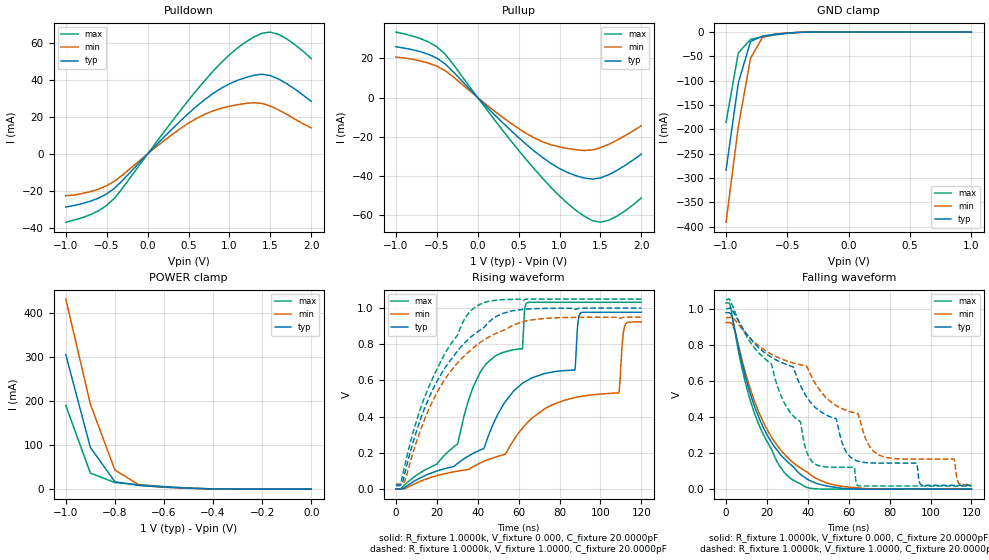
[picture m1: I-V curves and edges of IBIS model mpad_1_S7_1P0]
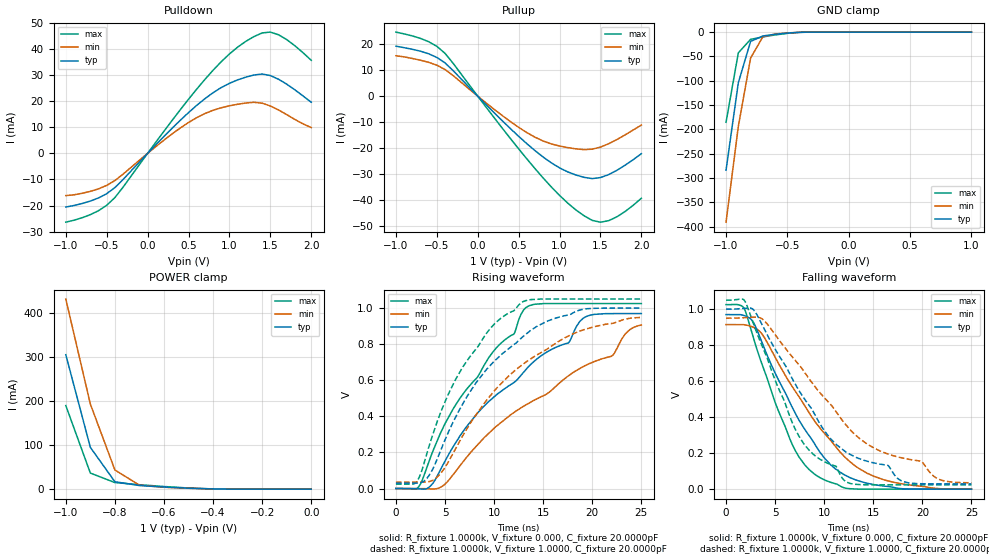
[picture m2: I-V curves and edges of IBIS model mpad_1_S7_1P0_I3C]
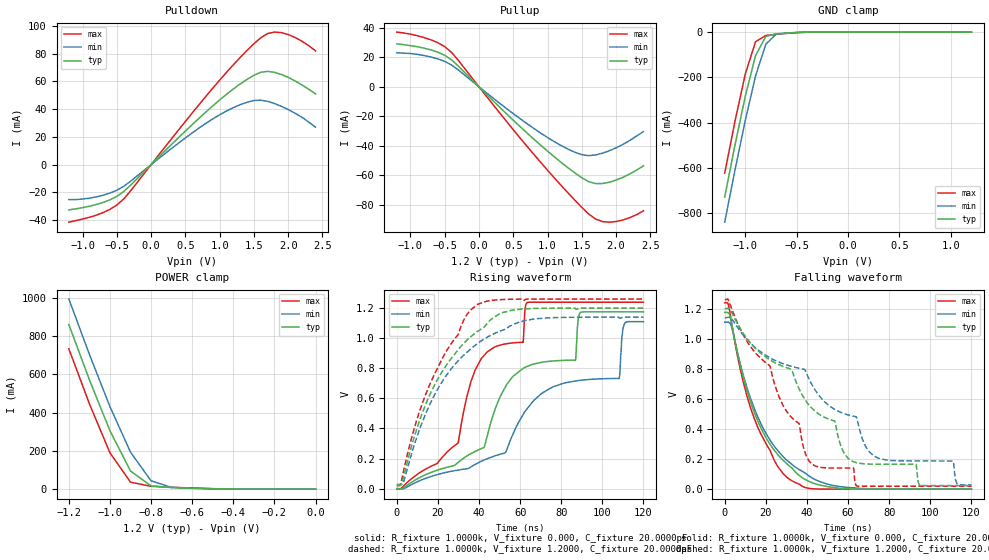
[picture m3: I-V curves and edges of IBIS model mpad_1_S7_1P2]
[IBIS ver]   4.0
[File Rev] 1
[File Name] the.ibs
[Date] Wed Nov 17 18:32:16 IST 2021
| IBIS file created by s2ibis2 version 1.1
| North Carolina State University Electronics Research Laboratory 1995
[Notes]   Nuvoton Technology Corporation (NTC) hereby grants
   the user of this IBIS model a non-exclusive, nontransferable
   license to use this IBIS model under the following terms.
   Before using this IBIS model, the user should read this
   license. If the user does not accept these terms, the IBIS
   model should be returned to NTC within 30 days. The user is
   granted this license only to use the IBIS model and is not
   granted rights to sell, load, rent, lease or license the IBIS
   model in whole or in part, or in modified form to anyone other
   than user. User may modify the IBIS model to suit its specific
   applications but rights to derivative works and such
   modifications shall belong to NTC.
[Disclaimer] This IBIS model is provided on an "AS IS" basis and NTC makes
                 absolutely no warranty with respect to the information
                 contained herein. NUVOTON DISCLAIMS AND CUSTOMER WAIVES ALL
                 WARRANTIES, EXPRESS OR IMPLIED, INCLUDING WARRANTIES OF
                 MERCHANTABILITY OR FITNESS FOR A PARTICULAR PURPOSE. The
                 entire risk as to quality and performance is with the
                 Customer. ACCORDINGLY, IN NO EVENT SHALL THE COMPANY BE LIABLE
                 FOR ANY DAMAGES, WHETHER IN CONTRACT OR TORT, INCLUDING ANY
                 LOST PROFITS OR OTHER INCIDENTAL, CONSEQUENTIAL, EXEMPLARY, OR
                 PUNITIVE DAMAGES ARISING OUT OF THE USE OR APPLICATION OF THE
                 IBIS model provided in this package. Further, NTC reserves
                 the right to make changes without notice to any product herein
                 to improve reliability, function, or design. NTC does not
                 convey any license under patent rights or any other
                 intellectual property rights, including those of third
                 parties. NTC is not obligated to provide maintenance or
                 support for the licensed IBIS model.
[Copyright]   (C) Copyright Nuvoton Technology Corporation 2021
   All rights reserved
|   Component Arbel
[Component] Arbel
[Manufacturer] Nuvoton
[Package] | 21 x 21 mm 521-ball BGA package
| variable   typ   min   max
R_pkg   0.000   0.000   0.000
L_pkg   0.000H   0.000H   0.000H
C_pkg   0.000F   0.000F   0.000F
[Pin]  signal_name   model_name   R_pin   L_pin   C_pin
AA8	GPIO240_I3C0SCL	mpad_1
Y9	GPIO241_I3C0SDA	mpad_1
AE3	GPIO242_I3C1SCL	mpad_1
AD5	GPIO243_I3C1SDA	mpad_1
AD4	GPIO244_I3C2SCL	mpad_1
AC5	GPIO245_I3C2SDA	mpad_1
AA6	GPIO246_I3C3SCL	mpad_1
AB6	GPIO247_I3C3SDA	mpad_1
AA7	GPIO106_I3C5SCL	mpad_1
Y8	GPIO107_I3C5SDA	mpad_1
[Model Selector] mpad_1
mpad_1_S7_1P0 *
mpad_1_S7_1P0_I3C *
mpad_1_S7_1P2 *
mpad_1_S7_1P2_I3C *
mpad_1_S7_1P8 *
mpad_1_S7_1P8_I3C *
| Models and submodels in the file (6): mpad_1_S7_1P0 (I/O), mpad_1_S7_1P0_I3C (I/O), mpad_1_S7_1P2 (I/O), mpad_1_S7_1P2_I3C (I/O), mpad_1_S7_1P8 (I/O), mpad_1_S7_1P8_I3C (I/O)
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[Model]   mpad_1_S7_1P0
Model_type   I/O
Polarity   Non-Inverting
Enable   Active-Low
Vinl = 0.3300V
Vinh = 0.6800V
C_comp   3.7000pF   3.6000pF   3.8000pF
[Temperature Range]   50.0000   100.0   0.000
[Voltage Range]   1.0000V   0.9500V   1.0500V
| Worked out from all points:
|   slope of the pulldown table from 0 to 0.15 V, typ, clamps not added: 21.9 ohm
|   slope of the pullup table from 0 to 0.15 V, typ, clamps not added: 23.4 ohm
|   GND clamp passes 1 mA (typ) near -0.43 V on its own axis
|   POWER clamp passes 1 mA (typ) near -0.43 V on its own axis
|   rising waveform, R_fixture 1.0000k, V_fixture 0.000, C_fixture 20.0000pF: 20-80 % time 50.6ns typ, 58.9ns min, 36.5ns max; typ from 0 V to 0.977 V
|   rising waveform, R_fixture 1.0000k, V_fixture 1.0000, C_fixture 20.0000pF: 20-80 % time 25.9ns typ, 27.6ns min, 23.3ns max; typ from 0.021 V to 1 V
|   falling waveform, R_fixture 1.0000k, V_fixture 0.000, C_fixture 20.0000pF: 20-80 % time 20.2ns typ, 21.9ns min, 17.7ns max; typ from 0.977 V to 0 V
|   falling waveform, R_fixture 1.0000k, V_fixture 1.0000, C_fixture 20.0000pF: 20-80 % time 44.1ns typ, 52.6ns min, 28.7ns max; typ from 1 V to 0.021 V
[Pulldown]
|   *******  Pulldown data is GROUND relative! *******
| voltage   I(typ)   I(min)   I(max)
-1V       -28.7mA    -22.6mA    -36.9mA
-800mV    -26.85mA   -21.39mA   -34.47mA
-600mV    -23.89mA   -19.02mA   -30.71mA
-400mV    -18.37mA   -14.59mA   -23.71mA
200mV     9.093mA    7.106mA    11.88mA
600mV     25.81mA    19.25mA    34.5mA
900mV     35.52mA    24.7mA     49.35mA
1.2V      41.31mA    27.3mA     60.54mA
1.4V      43.09mA    27.28mA    65.27mA
1.5V      42.35mA    25.88mA    65.87mA
1.7V      37.99mA    21.43mA    62.23mA
2V        28.4mA     14.1mA     51.59mA
[Pullup]
|   *******  Pullup data is VCC relative! *******
| voltage   I(typ)   I(min)   I(max)
-1V       26mA       20.7mA     33.5mA
-600mV    22.1mA     17.63mA    28.43mA
-400mV    17.28mA    13.81mA    22.27mA
200mV     -8.524mA   -6.745mA   -11.09mA
600mV     -24.18mA   -18.49mA   -32.05mA
800mV     -30.91mA   -22.73mA   -41.63mA
1V        -36.33mA   -25.27mA   -50.32mA
1.3V      -41.14mA   -27.07mA   -60.61mA
1.5V      -41.09mA   -25.63mA   -63.74mA
1.6V      -39.48mA   -23.93mA   -62.77mA
1.8V      -34.72mA   -19.5mA    -57.96mA
2V        -28.9mA    -14.4mA    -51.31mA
[GND_clamp]
| voltage   I(typ)   I(min)   I(max)
-1V       -283.8mA   -390.8mA   -185.4mA
-900mV    -104.2mA   -194mA     -42.71mA
-800mV    -19.12mA   -53.44mA   -14.95mA
-700mV    -7.96mA    -9.653mA   -9.919mA
-600mV    -4.561mA   -3.952mA   -5.864mA
-400mV    -470.1uA   -461.6uA   -568.6uA
1V        4.044nA    61.24nA    641.7pA
[POWER_clamp]
| voltage   I(typ)   I(min)   I(max)
-1V       304.6mA    430.7mA    189.4mA
-900mV    94.79mA    192.9mA    36.48mA
-800mV    16.82mA    43.46mA    14.94mA
-700mV    8.217mA    9.002mA    10.09mA
-600mV    4.819mA    4.316mA    5.998mA
-500mV    2.165mA    2.001mA    2.639mA
-400mV    511.4uA    556.1uA    552uA
-300mV    38.84uA    62.81uA    27.04uA
-200mV    1.654uA    4.06uA     684.2nA
-100mV    67.78nA    244.2nA    17.11nA
0V        4.044nA    16.41nA    1.024nA
[Ramp]
| variable   typ   min   max
dV/dt_r   0.5864/58.7327n   0.5540/72.1589n   0.6192/52.3667n
dV/dt_f   0.5873/49.5555n   0.5547/58.8851n   0.6197/32.9924n
R_load = 1.0000k
[Rising Waveform]
R_fixture = 1.0000k
V_fixture = 0.000
C_fixture = 20.0000pF
| time   V(typ)   V(min)   V(max)
0s        24.85nV    169.7nV    4.338nV
30.15ns   140.3mV    97.59mV    248.6mV
41.44ns   215.4mV    144mV      650.3mV
61.74ns   582.8mV    334.6mV    772.5mV
63.9ns    597.5mV    361.5mV    1.028V
87.45ns   656.6mV    504.7mV    1.032V
90.09ns   970.3mV    510.1mV    1.032V
108.8ns   977.4mV    529mV      1.032V
111.8ns   977.4mV    899.1mV    1.032V
120ns     977.4mV    923.3mV    1.032V
[Rising Waveform]
R_fixture = 1.0000k
V_fixture = 1.0000
V_fixture_min = 0.9500
V_fixture_max = 1.0500
C_fixture = 20.0000pF
| time   V(typ)   V(min)   V(max)
0s        21.23mV    25.44mV    17.24mV
2.162ns   21.15mV    25.44mV    24.32mV
4.204ns   78.19mV    39.89mV    123.3mV
11.53ns   368.9mV    310mV      428.6mV
19.7ns    586.7mV    524.4mV    652.1mV
34.11ns   813.3mV    742.7mV    949.8mV
38.8ns    859.4mV    789.7mV    1.007V
56.82ns   984.7mV    902.6mV    1.048V
73.63ns   998.7mV    943.8mV    1.05V
120ns     1V         950mV      1.05V
[Falling Waveform]
R_fixture = 1.0000k
V_fixture = 0.000
C_fixture = 20.0000pF
| time   V(typ)   V(min)   V(max)
0s        977.4mV    923.3mV    1.032V
1.682ns   976.9mV    923.3mV    1.029V
3.604ns   921.4mV    900.7mV    920.4mV
8.649ns   658.1mV    678.8mV    627.9mV
14.65ns   436mV      465.3mV    397.1mV
22.1ns    261.3mV    290.3mV    225.2mV
31.11ns   140.7mV    163.8mV    63.38mV
41.2ns    46.05mV    80.16mV    5.225mV
56.1ns    5.803mV    16.9mV     14.24uV
120ns     48.21nV    481.6nV    18.97nV
[Falling Waveform]
R_fixture = 1.0000k
V_fixture = 1.0000
V_fixture_min = 0.9500
V_fixture_max = 1.0500
C_fixture = 20.0000pF
| time   V(typ)   V(min)   V(max)
0s        1V         950mV      1.05V
22.1ns    731.1mV    748.1mV    695.2mV
32.79ns   677.4mV    699.4mV    407.3mV
43.36ns   455.3mV    590.1mV    139.7mV
53.81ns   389.5mV    462.8mV    121.1mV
63.18ns   159.8mV    421.6mV    75.07mV
74.71ns   144.3mV    188.7mV    17.24mV
111.4ns   21.23mV    166.2mV    17.24mV
113.6ns   21.23mV    35.51mV    17.24mV
120ns     21.23mV    25.44mV    17.24mV
[Model]   mpad_1_S7_1P0_I3C
Model_type   I/O
Polarity   Non-Inverting
Enable   Active-Low
Vinl = 0.3300V
Vinh = 0.6800V
C_comp   3.7000pF   3.6000pF   3.8000pF
[Temperature Range]   50.0000   100.0   0.000
[Voltage Range]   1.0000V   0.9500V   1.0500V
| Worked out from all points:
|   slope of the pulldown table from 0 to 0.15 V, typ, clamps not added: 30.7 ohm
|   slope of the pullup table from 0 to 0.15 V, typ, clamps not added: 31.4 ohm
|   GND clamp passes 1 mA (typ) near -0.43 V on its own axis
|   POWER clamp passes 1 mA (typ) near -0.43 V on its own axis
|   rising waveform, R_fixture 1.0000k, V_fixture 0.000, C_fixture 20.0000pF: 20-80 % time 10.6ns typ, 14ns min, 7.25ns max; typ from 0 V to 0.97 V
|   rising waveform, R_fixture 1.0000k, V_fixture 1.0000, C_fixture 20.0000pF: 20-80 % time 7.58ns typ, 9.15ns min, 5.68ns max; typ from 0.029 V to 1 V
|   falling waveform, R_fixture 1.0000k, V_fixture 0.000, C_fixture 20.0000pF: 20-80 % time 5.77ns typ, 7ns min, 4.25ns max; typ from 0.97 V to 0 V
|   falling waveform, R_fixture 1.0000k, V_fixture 1.0000, C_fixture 20.0000pF: 20-80 % time 7.1ns typ, 9.19ns min, 4.95ns max; typ from 1 V to 0.029 V
[Pulldown]
|   *******  Pulldown data is GROUND relative! *******
| voltage   I(typ)   I(min)   I(max)
-1V       -20.6mA    -16.2mA    -26.4mA
-800mV    -19.23mA   -15.31mA   -24.69mA
-600mV    -17.1mA    -13.61mA   -21.99mA
-400mV    -13.14mA   -10.43mA   -16.96mA
200mV     6.496mA    5.072mA    8.49mA
600mV     18.4mA     13.69mA    24.62mA
900mV     25.23mA    17.49mA    35.14mA
1.2V      29.23mA    19.3mA     42.95mA
1.4V      30.43mA    19.24mA    46.18mA
1.5V      29.84mA    18.18mA    46.51mA
1.7V      26.55mA    14.87mA    43.64mA
2V        19.6mA     9.9mA      35.69mA
[Pullup]
|   *******  Pullup data is VCC relative! *******
| voltage   I(typ)   I(min)   I(max)
-1V       19.2mA     15.5mA     24.6mA
-600mV    16.27mA    12.99mA    20.91mA
-400mV    12.77mA    10.23mA    16.44mA
200mV     -6.354mA   -5.046mA   -8.244mA
600mV     -18.24mA   -13.99mA   -24.08mA
800mV     -23.4mA    -17.23mA   -31.43mA
1V        -27.53mA   -19.15mA   -38.1mA
1.3V      -31.18mA   -20.54mA   -45.94mA
1.5V      -31.27mA   -19.56mA   -48.4mA
1.6V      -30.13mA   -18.28mA   -47.82mA
1.8V      -26.55mA   -14.9mA    -44.32mA
2V        -22.1mA    -11.1mA    -39.21mA
[GND_clamp]
| voltage   I(typ)   I(min)   I(max)
-1V       -283.8mA   -390.8mA   -185.4mA
-900mV    -104.2mA   -194mA     -42.71mA
-800mV    -19.12mA   -53.44mA   -14.95mA
-700mV    -7.96mA    -9.653mA   -9.919mA
-600mV    -4.561mA   -3.952mA   -5.864mA
-400mV    -470.1uA   -461.6uA   -568.6uA
1V        4.044nA    61.24nA    641.7pA
[POWER_clamp]
| voltage   I(typ)   I(min)   I(max)
-1V       304.6mA    430.7mA    189.4mA
-900mV    94.79mA    192.9mA    36.48mA
-800mV    16.82mA    43.46mA    14.94mA
-700mV    8.217mA    9.002mA    10.09mA
-600mV    4.819mA    4.316mA    5.998mA
-500mV    2.165mA    2.001mA    2.639mA
-400mV    511.4uA    556.1uA    552uA
-300mV    38.84uA    62.81uA    27.04uA
-200mV    1.654uA    4.06uA     684.2nA
-100mV    67.78nA    244.2nA    17.11nA
0V        4.044nA    16.41nA    1.024nA
[Ramp]
| variable   typ   min   max
dV/dt_r   0.5819/8.4274n   0.5486/10.8111n   0.6150/1.9184n
dV/dt_f   0.5823/3.2307n   0.5488/4.5528n   0.6156/1.9813n
R_load = 1.0000k
[Rising Waveform]
R_fixture = 1.0000k
V_fixture = 0.000
C_fixture = 20.0000pF
| time   V(typ)   V(min)   V(max)
0s        56.98nV    361.8nV    9.961nV
2.352ns   -1.555mV   -5.707uV   12.21mV
3.704ns   25mV       -2.98mV    199.2mV
5.681ns   218.4mV    66.45mV    428.5mV
12.06ns   589.1mV    423.1mV    859.8mV
13.24ns   659.7mV    463.8mV    1.003V
17.59ns   808.3mV    625.7mV    1.025V
19.34ns   952.5mV    683.2mV    1.025V
22ns      969.6mV    734.5mV    1.025V
25ns      969.8mV    906.2mV    1.025V
[Rising Waveform]
R_fixture = 1.0000k
V_fixture = 1.0000
V_fixture_min = 0.9500
V_fixture_max = 1.0500
C_fixture = 20.0000pF
| time   V(typ)   V(min)   V(max)
0s        29.47mV    35.28mV    23.96mV
2.152ns   29.74mV    35.27mV    39.87mV
3.178ns   57.61mV    37.01mV    199.2mV
4.204ns   163.4mV    63.73mV    371.1mV
5.981ns   385.6mV    211.6mV    595.2mV
8.133ns   584mV      406.5mV    771mV
10.01ns   705.4mV    540.4mV    910.8mV
12.64ns   827.1mV    676.5mV    1.024V
18.79ns   990.4mV    873.8mV    1.05V
25ns      1V         948.4mV    1.05V
[Falling Waveform]
R_fixture = 1.0000k
V_fixture = 0.000
C_fixture = 20.0000pF
| time   V(typ)   V(min)   V(max)
0s        969.8mV    914.4mV    1.025V
1.777ns   965.7mV    913.9mV    1.01V
2.753ns   929.8mV    900mV      846.4mV
3.829ns   791.9mV    849.1mV    668.9mV
6.757ns   452.6mV    568.2mV    246.7mV
9.084ns   245.1mV    373.7mV    80.52mV
11.89ns   84.67mV    190.5mV    10.29mV
14.99ns   26.04mV    72.99mV    -3.794uV
21.12ns   8.293uV    5.48mV     188.4nV
25ns      498.7nV    30.81uV    154.4nV
[Falling Waveform]
R_fixture = 1.0000k
V_fixture = 1.0000
V_fixture_min = 0.9500
V_fixture_max = 1.0500
C_fixture = 20.0000pF
| time   V(typ)   V(min)   V(max)
0s        1V         950mV      1.05V
1.777ns   1.004V     952mV      1.054V
2.878ns   991.8mV    955.2mV    905.7mV
4.104ns   866.6mV    924mV      741.4mV
7.357ns   554.3mV    696.7mV    300.3mV
12.11ns   210.4mV    363.3mV    45.43mV
15.04ns   145.8mV    229mV      23.99mV
18.52ns   35.47mV    166.8mV    23.96mV
21.82ns   29.5mV     51.68mV    23.96mV
25ns      29.47mV    35.53mV    23.96mV
[Model]   mpad_1_S7_1P2
Model_type   I/O
Polarity   Non-Inverting
Enable   Active-Low
Vinl = 0.4000V
Vinh = 0.8200V
C_comp   3.7000pF   3.6000pF   3.8000pF
[Temperature Range]   50.0000   100.0   0.000
[Voltage Range]   1.2000V   1.1400V   1.2600V
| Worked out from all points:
|   slope of the pulldown table from 0 to 0.18 V, typ, clamps not added: 20.4 ohm
|   slope of the pullup table from 0 to 0.18 V, typ, clamps not added: 21.7 ohm
|   GND clamp passes 1 mA (typ) near -0.43 V on its own axis
|   POWER clamp passes 1 mA (typ) near -0.43 V on its own axis
|   rising waveform, R_fixture 1.0000k, V_fixture 0.000, C_fixture 20.0000pF: 20-80 % time 51ns typ, 60.4ns min, 36.7ns max; typ from 0 V to 1.18 V
|   rising waveform, R_fixture 1.0000k, V_fixture 1.2000, C_fixture 20.0000pF: 20-80 % time 25.8ns typ, 27.5ns min, 23.3ns max; typ from 0.024 V to 1.2 V
|   falling waveform, R_fixture 1.0000k, V_fixture 0.000, C_fixture 20.0000pF: 20-80 % time 19.8ns typ, 21.4ns min, 17.6ns max; typ from 1.18 V to 0 V
|   falling waveform, R_fixture 1.0000k, V_fixture 1.2000, C_fixture 20.0000pF: 20-80 % time 44.4ns typ, 53.3ns min, 28.9ns max; typ from 1.2 V to 0.024 V
[Pulldown]
|   *******  Pulldown data is GROUND relative! *******
| voltage   I(typ)   I(min)   I(max)
-1.2V     -32.6mA    -25.2mA    -41.5mA
-700mV    -27.25mA   -22.04mA   -34.57mA
-500mV    -22.88mA   -18.45mA   -29.12mA
-400mV    -19.42mA   -15.65mA   -24.78mA
400mV     19.45mA    15.53mA    24.99mA
900mV     42.39mA    32.98mA    55.14mA
1.3V      58.18mA    43.22mA    77.31mA
1.6V      66.61mA    46.49mA    91.51mA
1.7V      67.25mA    45.64mA    94.55mA
1.9V      65.04mA    42.07mA    95.23mA
2.1V      60.41mA    37.1mA     91.71mA
2.4V      51mA       27mA       82mA
[Pullup]
|   *******  Pullup data is VCC relative! *******
| voltage   I(typ)   I(min)   I(max)
-1.2V     29.1mA     23.1mA     37.1mA
-700mV    24.99mA    20.19mA    31.84mA
-500mV    21.34mA    17.22mA    27.22mA
-400mV    18.25mA    14.76mA    23.3mA
500mV     -22.63mA   -18.18mA   -29.07mA
1V        -43.56mA   -34.34mA   -56.51mA
1.4V      -58.39mA   -44.34mA   -76.87mA
1.6V      -64.25mA   -46.62mA   -86.15mA
1.7V      -65.52mA   -46.16mA   -89.56mA
1.8V      -65.52mA   -44.98mA   -91.27mA
2V        -63.18mA   -41.3mA    -91.28mA
2.4V      -53.5mA    -30.3mA    -84mA
[GND_clamp]
| voltage   I(typ)   I(min)   I(max)
-1.2V     -728.1mA   -839.7mA   -623.2mA
-1.1V     -498.9mA   -609.8mA   -394.2mA
-1V       -283.8mA   -390.8mA   -185.4mA
-900mV    -104.2mA   -194mA     -42.71mA
-800mV    -19.12mA   -53.44mA   -14.95mA
-700mV    -7.96mA    -9.653mA   -9.919mA
-600mV    -4.561mA   -3.952mA   -5.864mA
-300mV    -35.77uA   -49.81uA   -30.9uA
1.2V      4.273nA    81.28nA    699.8pA
[POWER_clamp]
| voltage   I(typ)   I(min)   I(max)
-1.2V     859.3mA    992.9mA    733mA
-1.1V     571.2mA    703.7mA    445.6mA
-1V       304.6mA    430.7mA    189.4mA
-900mV    94.79mA    192.9mA    36.48mA
-800mV    16.82mA    43.46mA    14.94mA
-700mV    8.217mA    9.002mA    10.09mA
-400mV    511.4uA    556.1uA    552uA
0V        4.273nA    17.14nA    1.112nA
[Ramp]
| variable   typ   min   max
dV/dt_r   0.7050/58.5959n   0.6660/72.2580n   0.7434/53.2344n
dV/dt_f   0.7057/49.8163n   0.6672/59.2387n   0.7442/33.2323n
R_load = 1.0000k
[Rising Waveform]
R_fixture = 1.0000k
V_fixture = 0.000
C_fixture = 20.0000pF
| time   V(typ)   V(min)   V(max)
0s        21.06nV    131.4nV    4.689nV
29.79ns   174.4mV    123.8mV    303.6mV
38.08ns   247mV      160.9mV    787.4mV
61.38ns   799.4mV    491.4mV    970.9mV
63.3ns    811.3mV    529.7mV    1.236V
86.85ns   852.3mV    715.9mV    1.239V
89.13ns   1.167V     719.9mV    1.239V
108.1ns   1.175V     731mV      1.239V
110.6ns   1.175V     1.093V     1.239V
120ns     1.175V     1.11V      1.239V
[Rising Waveform]
R_fixture = 1.0000k
V_fixture = 1.2000
V_fixture_min = 1.1400
V_fixture_max = 1.2600
C_fixture = 20.0000pF
| time   V(typ)   V(min)   V(max)
0s        23.88mV    28.03mV    19.69mV
1.682ns   23.55mV    28.02mV    22.99mV
3.123ns   68.08mV    38.55mV    106mV
10.33ns   422.5mV    365.6mV    483.1mV
18.38ns   689.1mV    623.8mV    760.7mV
33.75ns   982.5mV    901.7mV    1.15V
39.04ns   1.043V     962.6mV    1.222V
56.82ns   1.188V     1.092V     1.259V
72.67ns   1.199V     1.135V     1.26V
120ns     1.2V       1.14V      1.26V
[Falling Waveform]
R_fixture = 1.0000k
V_fixture = 0.000
C_fixture = 20.0000pF
| time   V(typ)   V(min)   V(max)
0s        1.175V     1.11V      1.239V
1.562ns   1.174V     1.111V     1.236V
2.883ns   1.133V     1.098V     1.145V
8.048ns   795.6mV    807.9mV    768.7mV
14.29ns   514.4mV    539.8mV    473.4mV
21.86ns   302.5mV    330.7mV    262.7mV
31.47ns   154mV      178.7mV    66.24mV
40.84ns   51.83mV    89.4mV     5.725mV
55.98ns   5.632mV    17.46mV    10.79uV
120ns     42.24nV    168.9nV    18.23nV
[Falling Waveform]
R_fixture = 1.0000k
V_fixture = 1.2000
V_fixture_min = 1.1400
V_fixture_max = 1.2600
C_fixture = 20.0000pF
| time   V(typ)   V(min)   V(max)
0s        1.2V       1.14V      1.26V
21.98ns   859.4mV    873.6mV    819.9mV
32.55ns   796.1mV    815.8mV    476mV
42.4ns    537.3mV    695.5mV    167mV
53.57ns   451.7mV    529.4mV    140.3mV
61.98ns   185.9mV    487mV      140.1mV
72.31ns   165.6mV    222.8mV    19.69mV
111ns     23.88mV    187.7mV    19.69mV
113ns     23.88mV    37.17mV    19.69mV
120ns     23.88mV    28.03mV    19.69mV
